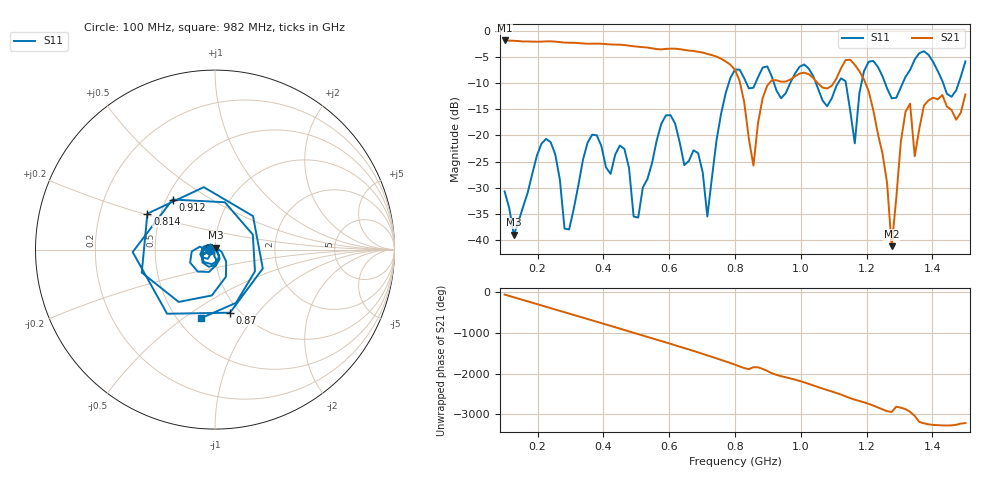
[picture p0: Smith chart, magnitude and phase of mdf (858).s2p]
! NanoVNA-App
! Date: 2025-09-25 15:45:06
! Start: 100MHz Stop: 1,5GHz Points: 101
! S-Parameter data: F S11 S21 S12 S22
# Hz S RI R 50
!  Frequency  S11_Real  S11_Imag  S21_Real  S21_Imag  S12_Real  S12_Imag  S22_Real  S22_Imag
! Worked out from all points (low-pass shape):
!   101 points, 100 MHz to 1.5 GHz, reference 50 ohm
!   highest |S21| = -1.80 dB at 100 MHz (marker M1); lowest = -41.2 dB at 1.276 GHz (marker M2)
!   |S21| within 3 dB of the highest: start of sweep to 739.5 MHz
!   lowest |S11| = -39.0 dB at 128 MHz (marker M3), VSWR 1.02, Z = 50.3 + j1.07 ohm
!   |S11| at or under -10 dB: start of sweep to 781 MHz; 1.046 GHz to 1.113 GHz (66.91 MHz wide, 6.2 % of centre); 1.256 GHz to 1.309 GHz (53.28 MHz wide, 4.15 % of centre) (the widest 3 of 7)
!   S12 and S22 are empty: the file has one direction only
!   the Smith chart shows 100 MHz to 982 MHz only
!   S11 on the Smith chart (normalised r, x): 100 MHz: 0.94, -0.01; 814 MHz: 0.42, +0.21; 870 MHz: 0.90, -0.73; 912 MHz: 0.54, +0.35; 982 MHz: 0.65, -0.58
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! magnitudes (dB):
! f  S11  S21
! 100 MHz  -30.7  -1.8
! 128 MHz  -39.0  -1.9
! 212 MHz  -21.6  -2.0
! 282 MHz  -37.9  -2.2
! 338 MHz  -24.7  -2.4
! 464 MHz  -22.6  -2.7
! 506 MHz  -35.7  -3.0
! 576 MHz  -17.8  -3.5
! 716 MHz  -35.5  -4.4
! 800 MHz  -7.4  -7.4
! 814 MHz  -7.4  -9.6
! 856 MHz  -10.9  -25.8
! 870 MHz  -8.8  -17.6
! 912 MHz  -8.7  -9.4
! 982 MHz  -8.2  -8.7
! 1.038 GHz  -8.7  -9.0
! 1.136 GHz  -9.6  -5.6
! 1.164 GHz  -21.5  -6.5
! 1.192 GHz  -7.7  -9.3
! 1.276 GHz  -12.9  -41.2
! 1.318 GHz  -8.8  -15.5
! 1.5 GHz  -5.8  -12.2
